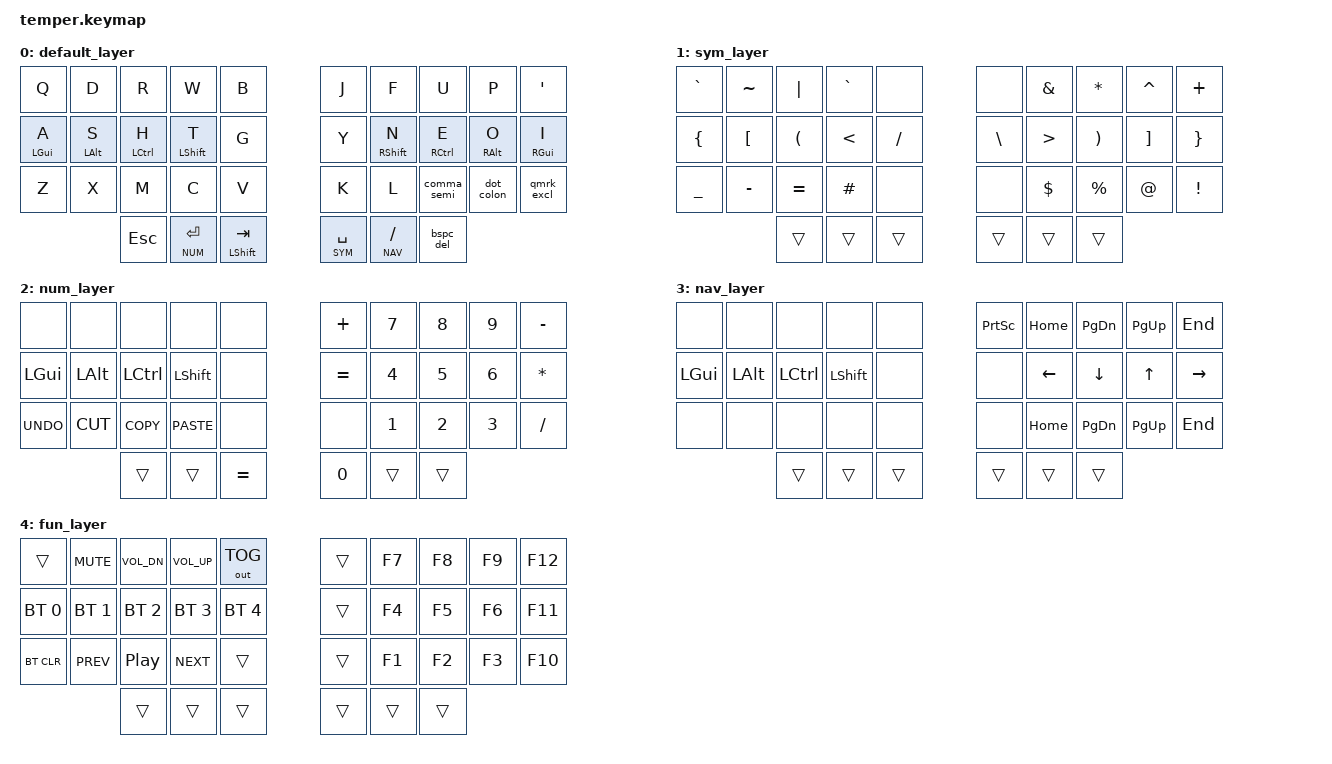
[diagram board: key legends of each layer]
/*
 * Copyright (c) 2020 The ZMK Contributors
 *
 * SPDX-License-Identifier: MIT
 */

#include <behaviors.dtsi>
#include <dt-bindings/zmk/keys.h>
#include <dt-bindings/zmk/bt.h>
#include <dt-bindings/zmk/outputs.h>

#define DEFAULT 0
#define SYM 1
#define NUM 2
#define NAV 3
#define FUN 4

/ {
    conditional_layers {
        compatible = "zmk,conditional-layers";
        tri_layer {
            if-layers = <NUM NAV>;
            then-layer = <FUN>;
        };
    };
    behaviors {
        bspc_del: backspace_delete {
            compatible = "zmk,behavior-mod-morph";
            #binding-cells = <0>;
            bindings = <&kp BACKSPACE>, <&kp DELETE>;
            mods = <(MOD_LSFT|MOD_RSFT)>;
            keep-mods = <(MOD_RSFT)>;
        };
        super_bspc: super_backspace {
            compatible = "zmk,behavior-mod-morph";
            #binding-cells = <0>;
            bindings = <&kp BACKSPACE>, <&kp LA(BACKSPACE)>;
            mods = <(MOD_LSFT|MOD_RSFT)>;
        };
        smart_shft: smart_shift {
            compatible = "zmk,behavior-mod-morph";
            #binding-cells = <0>;
            bindings = <&kp LSHFT>, <&caps_word>;
            mods = <(MOD_LSFT)>;
        };
        comma_semi: comma_semi {
            compatible = "zmk,behavior-mod-morph";
            #binding-cells = <0>;
            bindings = <&kp COMMA>, <&kp SEMI>;
            mods = <(MOD_LSFT)>;
        };
        dot_colon: dot_colon {
            compatible = "zmk,behavior-mod-morph";
            #binding-cells = <0>;
            bindings = <&kp DOT>, <&kp COLON>;
            mods = <(MOD_LSFT)>;
        };
        qmrk_excl: qmrk_excl {
            compatible = "zmk,behavior-mod-morph";
            #binding-cells = <0>;
            bindings = <&kp QMARK>, <&kp EXCL>;
            mods = <(MOD_LSFT)>;
        };
        slh_morph: slh_morph {
            compatible = "zmk,behavior-mod-morph";
            #binding-cells = <0>;
            bindings = <&kp FSLH>, <&kp BSLH>;
            mods = <(MOD_LSFT)>;
        };
        amps_morph: amps_morph {
            compatible = "zmk,behavior-mod-morph";
            #binding-cells = <0>;
            bindings = <&kp AMPS>, <&kp PIPE>;
            mods = <(MOD_LSFT)>;
        };
        hm: homerow_mods {
            compatible = "zmk,behavior-hold-tap";
            label = "HOMEROW_MODS";
            #binding-cells = <2>;
            tapping-term-ms = <200>;
            quick-tap-ms = <0>;
            flavor = "tap-preferred";
            bindings = <&kp>, <&kp>;
        };
    };
        keymap {
                compatible = "zmk,keymap";

                default_layer {
                        bindings = <
// ╭─────────────┬─────────────┬─────────────┬─────────────┬─────────────╮   ╭─────────────┬─────────────┬─────────────┬─────────────┬─────────────╮
        &kp Q         &kp D         &kp R         &kp W         &kp B             &kp J         &kp F         &kp U         &kp P       &kp APOS   
// ├─────────────┼─────────────┼─────────────┼─────────────┼─────────────┤   ├─────────────┼─────────────┼─────────────┼─────────────┼─────────────┤
     &hm LGUI A     &hm LALT S   &hm LCTRL H   &hm LSHFT T      &kp G             &kp Y      &hm RSHFT N   &hm RCTRL E   &hm RALT O    &hm RGUI I
// ├─────────────┼─────────────┼─────────────┼─────────────┼─────────────┤   ├─────────────┼─────────────┼─────────────┼─────────────┼─────────────┤
        &kp Z         &kp X         &kp M         &kp C         &kp V             &kp K         &kp L      &comma_semi    &dot_colon    &qmrk_excl
// ╰─────────────┴─────────────┼─────────────┼─────────────┼─────────────┤   ├─────────────┼─────────────┼─────────────┼─────────────┴─────────────╯
                                   &kp ESC     &lt NUM RET  &hm LSHFT TAB     &lt SYM SPACE &lt NAV FSLH      &bspc_del
//                             ╰─────────────┴─────────────┴─────────────╯   ╰─────────────┴─────────────┴─────────────╯
                        >;
                };
                sym_layer {
                    bindings = <
// ╭─────────────┬─────────────┬─────────────┬─────────────┬─────────────╮   ╭─────────────┬─────────────┬─────────────┬─────────────┬─────────────╮
      &kp GRAVE    &kp TILDE     &kp PIPE      &kp GRAVE     &none             &none         &kp AMPS      &kp STAR      &kp CARET     &kp PLUS
// ├─────────────┼─────────────┼─────────────┼─────────────┼─────────────┤   ├─────────────┼─────────────┼─────────────┼─────────────┼─────────────┤
      &kp LBRC     &kp LBKT      &kp LPAR      &kp LT        &kp FSLH           &kp BSLH     &kp GT      &kp RPAR      &kp RBKT      &kp RBRC
// ├─────────────┼─────────────┼─────────────┼─────────────┼─────────────┤   ├─────────────┼─────────────┼─────────────┼─────────────┼─────────────┤
      &kp UNDER    &kp MINUS     &kp EQUAL     &kp HASH      &none              &none        &kp DLLR      &kp PRCNT     &kp AT        &kp EXCL
// ╰─────────────┴─────────────┼─────────────┼─────────────┼─────────────┤   ├─────────────┼─────────────┼─────────────┼─────────────┴─────────────╯
                                   &trans        &trans        &trans        &trans        &trans        &trans
//                             ╰─────────────┴─────────────┴─────────────╯   ╰─────────────┴─────────────┴─────────────╯
                    >;
                };
                num_layer {
                        bindings = <
// ╭─────────────┬─────────────┬─────────────┬─────────────┬─────────────╮   ╭─────────────┬─────────────┬─────────────┬─────────────┬─────────────╮
       &none        &none         &none         &none         &none             &kp PLUS      &kp N7        &kp N8        &kp N9        &kp MINUS
// ├─────────────┼─────────────┼─────────────┼─────────────┼─────────────┤   ├─────────────┼─────────────┼─────────────┼─────────────┼─────────────
       &kp LGUI     &kp LALT      &kp LCTRL     &kp LSHFT     &none             &kp EQUAL     &kp N4        &kp N5        &kp N6        &kp STAR
// ├─────────────┼─────────────┼─────────────┼─────────────┼─────────────┤   ├─────────────┼─────────────┼─────────────┼─────────────┼─────────────┤
       &kp K_UNDO   &kp K_CUT     &kp K_COPY    &kp K_PASTE   &none             &none         &kp N1        &kp N2        &kp N3        &kp FSLH
// ╰─────────────┴─────────────┼─────────────┼─────────────┼─────────────┤   ├─────────────┼─────────────┼─────────────┼─────────────┴─────────────╯
                                  &trans        &trans        &kp EQUAL         &kp N0        &trans        &trans
//                             ╰─────────────┴─────────────┴─────────────╯   ╰─────────────┴─────────────┴─────────────╯
                        >;
                };
                nav_layer {
                        bindings = <
// ╭─────────────┬─────────────┬─────────────┬─────────────┬─────────────╮   ╭─────────────┬─────────────┬─────────────┬─────────────┬─────────────╮
      &none        &none         &none         &none         &none              &kp PSCRN     &kp HOME      &kp PG_DN     &kp PG_UP     &kp END
// ├─────────────┼─────────────┼─────────────┼─────────────┼─────────────┤   ├─────────────┼─────────────┼─────────────┼─────────────┼─────────────┤
      &kp LGUI     &kp LALT      &kp LCTRL     &kp LSHFT     &none              &none         &kp LEFT      &kp DOWN      &kp UP        &kp RIGHT
// ├─────────────┼─────────────┼─────────────┼─────────────┼─────────────┤   ├─────────────┼─────────────┼─────────────┼─────────────┼─────────────┤
      &none        &none         &none         &none         &none              &none         &kp HOME      &kp PG_DN     &kp PG_UP     &kp END
// ╰─────────────┴─────────────┼─────────────┼─────────────┼─────────────┤   ├─────────────┼─────────────┼─────────────┼─────────────┴─────────────╯
                                 &trans        &trans        &trans            &trans        &trans        &trans
//                             ╰─────────────┴─────────────┴─────────────╯   ╰─────────────┴─────────────┴─────────────╯
                        >;
                };

                fun_layer {
                        bindings = <
// ╭─────────────┬─────────────┬─────────────┬─────────────┬─────────────╮   ╭─────────────┬─────────────┬─────────────┬─────────────┬─────────────╮
     &trans        &kp K_MUTE    &kp C_VOL_DN  &kp C_VOL_UP  &out OUT_TOG         &trans        &kp F7        &kp F8        &kp F9       &kp F12
// ├─────────────┼─────────────┼─────────────┼─────────────┼─────────────┤   ├─────────────┼─────────────┼─────────────┼─────────────┼─────────────┤
     &bt BT_SEL 0  &bt BT_SEL 1  &bt BT_SEL 2  &bt BT_SEL 3  &bt BT_SEL 4         &trans        &kp F4        &kp F5        &kp F6       &kp F11
// ├─────────────┼─────────────┼─────────────┼─────────────┼─────────────┤   ├─────────────┼─────────────┼─────────────┼─────────────┼─────────────┤
      &bt BT_CLR    &kp C_PREV     &kp C_PP     &kp C_NEXT      &trans            &trans        &kp F1        &kp F2        &kp F3       &kp F10
// ╰─────────────┴─────────────┼─────────────┼─────────────┼─────────────┤   ├─────────────┼─────────────┼─────────────┼─────────────┴─────────────╯
                                    &trans        &trans        &trans            &trans        &trans        &trans
//                             ╰─────────────┴─────────────┴─────────────╯   ╰─────────────┴─────────────┴─────────────╯
                        >;
                };
        };
};
